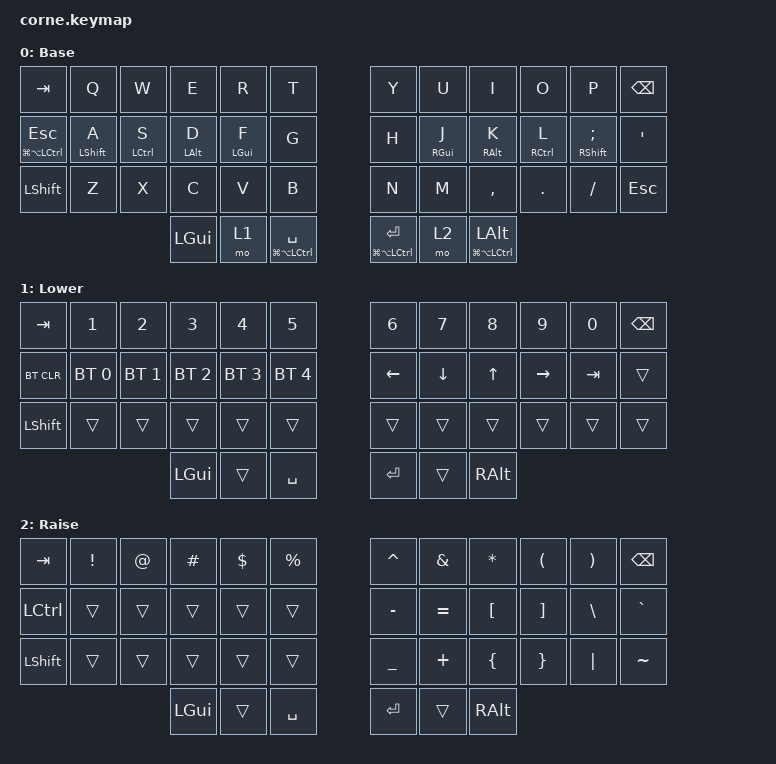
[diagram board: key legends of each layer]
/*
 * Copyright (c) 2020 The ZMK Contributors
 *
 * SPDX-License-Identifier: MIT
 */

#include <behaviors.dtsi>
#include <dt-bindings/zmk/bt.h>
#include <dt-bindings/zmk/keys.h>

/ {
    combos {
        compatible = "zmk,combos";

        combo_studio_unlock {
            timeout-ms = <50>;
            key-positions = <0 1>;
            bindings = <&studio_unlock>;
        };
    };
};

/ {
    behaviors {
        // homerow mods - hold = modifier, tap = letter (official "timeless HRM" recipe)
        hml: home_row_mod_left {
            compatible = "zmk,behavior-hold-tap";
            #binding-cells = <2>;
            flavor = "balanced";
            require-prior-idle-ms = <150>;
            tapping-term-ms = <280>;
            quick-tap-ms = <250>;
            bindings = <&kp>, <&kp>;
            // holds only fire when a right-half key is pressed (cross-hand)
            hold-trigger-key-positions =
                <6 7 8 9 10 11 18 19 20 21 22 23 30 31 32 33 34 35 39 40 41>;
            hold-trigger-on-release;
        };

        hmr: home_row_mod_right {
            compatible = "zmk,behavior-hold-tap";
            #binding-cells = <2>;
            flavor = "balanced";
            require-prior-idle-ms = <150>;
            tapping-term-ms = <280>;
            quick-tap-ms = <250>;
            bindings = <&kp>, <&kp>;
            // holds only fire when a left-half key is pressed (cross-hand)
            hold-trigger-key-positions =
                <0 1 2 3 4 5 12 13 14 15 16 17 24 25 26 27 28 29 36 37 38>;
            hold-trigger-on-release;
        };

        // capslock-style: tap = esc, hold = hyper (gui+alt+ctrl)
        eh: esc_hyper {
            compatible = "zmk,behavior-hold-tap";
            #binding-cells = <2>;
            flavor = "balanced";
            require-prior-idle-ms = <150>;
            tapping-term-ms = <200>;
            quick-tap-ms = <250>;
            bindings = <&kp>, <&kp>;
        };

        // thumb hold-tap: first param = hold, second = tap.
        // tap,tap<hold> within quick-tap-ms auto-repeats the tap.
        th: tap_hold {
            compatible = "zmk,behavior-hold-tap";
            #binding-cells = <2>;
            flavor = "balanced";
            require-prior-idle-ms = <150>;
            tapping-term-ms = <200>;
            quick-tap-ms = <250>;
            bindings = <&kp>, <&kp>;
        };
    };
};

/ {
    keymap {
        compatible = "zmk,keymap";

        default_layer {
            display-name = "Base";
            // -----------------------------------------------------------------------------------------
            // |  TAB |  Q  |  W  |  E  |  R  |  T  |   |  Y  |  U   |  I  |  O  |  P  | BSPC |
            // | ⎋/HYP | A:SFT | S:CTRL | D:ALT | F:GUI | G |   | H | J:GUI | K:ALT | L:CTRL | ;:SFT | ' |
            // | SHFT |  Z  |  X  |  C  |  V  |  B  |   |  N  |  M   |  ,  |  .  |  /  | ESC  |
            //                    |  GUI  | LWR | SPC/HYP |   | ENT/HYP | RSE  | A/HYP |

            bindings = <
&kp TAB    &kp Q  &kp W       &kp E        &kp R         &kp T     &kp Y    &kp U          &kp I         &kp O         &kp P       &kp BSPC
&eh LG(LA(LCTRL)) ESC  &hml LSHIFT A  &hml LCTRL S  &hml LALT D  &hml LGUI F  &kp G    &kp H  &hmr RGUI J  &hmr RALT K  &hmr RCTRL L  &hmr RSHIFT SEMI  &kp SQT
&kp LSHFT  &kp Z  &kp X      &kp C        &kp V         &kp B     &kp N    &kp M          &kp COMMA     &kp DOT       &kp FSLH    &kp ESC
                         &kp LGUI  &mo 1  &th LG(LA(LCTRL)) SPACE    &th LG(LA(LCTRL)) RET  &mo 2  &th LG(LA(LCTRL)) LALT
            >;
        };

        lower_layer {
            display-name = "Lower";
            // -----------------------------------------------------------------------------------------
            // |  TAB |  1  |  2  |  3  |  4  |  5  |   |  6  |  7  |  8  |  9  |  0  | BSPC |
            // | BTCLR| BT1 | BT2 | BT3 | BT4 | BT5 |   | LFT | DWN |  UP | RGT |     |      |
            // | SHFT |     |     |     |     |     |   |     |     |     |     |     |      |
            //                    | GUI |     | SPC |   | ENT |     | ALT |

            bindings = <
&kp TAB     &kp N1        &kp N2        &kp N3        &kp N4        &kp N5          &kp N6    &kp N7    &kp N8    &kp N9     &kp N0   &kp BSPC
&bt BT_CLR  &bt BT_SEL 0  &bt BT_SEL 1  &bt BT_SEL 2  &bt BT_SEL 3  &bt BT_SEL 4    &kp LEFT  &kp DOWN  &kp UP    &kp RIGHT  &kp TAB  &trans
&kp LSHFT   &trans        &trans        &trans        &trans        &trans          &trans    &trans    &trans    &trans     &trans   &trans
                                        &kp LGUI      &trans        &kp SPACE       &kp RET   &trans    &kp RALT
            >;
        };

        raise_layer {
            display-name = "Raise";
            // -----------------------------------------------------------------------------------------
            // |  TAB |  !  |  @  |  #  |  $  |  %  |   |  ^  |  &  |  *  |  (  |  )  | BSPC |
            // | CTRL |     |     |     |     |     |   |  -  |  =  |  [  |  ]  |  \  |  `   |
            // | SHFT |     |     |     |     |     |   |  _  |  +  |  {  |  }  | "|" |  ~   |
            //                    | GUI |     | SPC |   | ENT |     | ALT |

            bindings = <
&kp TAB    &kp EXCL  &kp AT  &kp HASH  &kp DLLR  &kp PRCNT    &kp CARET  &kp AMPS   &kp ASTRK  &kp LPAR  &kp RPAR  &kp BSPC
&kp LCTRL  &trans    &trans  &trans    &trans    &trans       &kp MINUS  &kp EQUAL  &kp LBKT   &kp RBKT  &kp BSLH  &kp GRAVE
&kp LSHFT  &trans    &trans  &trans    &trans    &trans       &kp UNDER  &kp PLUS   &kp LBRC   &kp RBRC  &kp PIPE  &kp TILDE
                             &kp LGUI  &trans    &kp SPACE    &kp RET    &trans     &kp RALT
            >;
        };
    };
};
